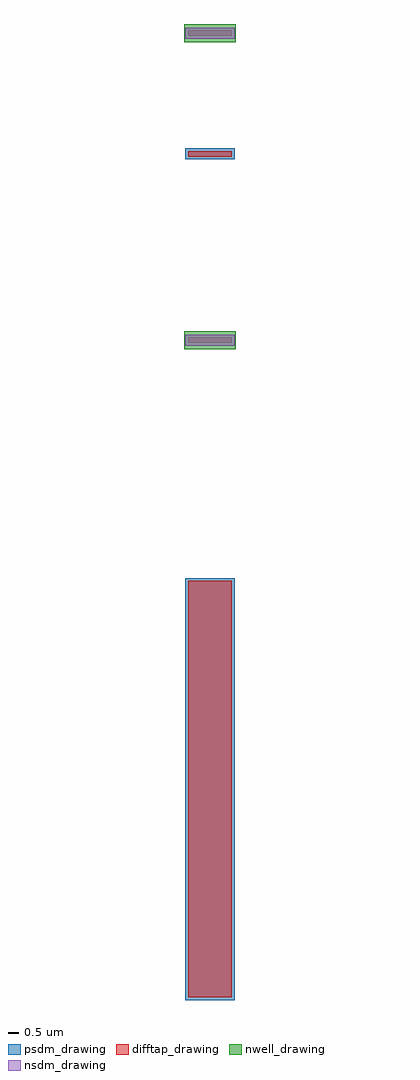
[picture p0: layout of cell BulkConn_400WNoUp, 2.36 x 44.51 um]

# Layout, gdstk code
import gdstk
lib = gdstk.Library(unit=1e-6, precision=1e-09)
def R(c, l, rs):  # rectangles x0, y0, x1, y1
    for r in rs: c.add(gdstk.rectangle(r[:2], r[2:], *l))
nwell_drawing = (64, 20)
difftap_drawing = (65, 20)
nsdm_drawing = (93, 44)
psdm_drawing = (94, 20)

bulkconn_400wnoup = lib.new_cell('BulkConn_400WNoUp')
R(bulkconn_400wnoup, nwell_drawing, [(-0.18,-0.42,2.18,0.42), (-0.18,13.58,2.18,14.42)])
R(bulkconn_400wnoup, difftap_drawing, [(0,-29.96,2,-10.975), (0,-0.125,2,0.125), (0,8.375,2,8.625), (0,13.875,2,14.125)])
R(bulkconn_400wnoup, nsdm_drawing, [(-0.125,-0.25,2.125,0.25), (-0.125,13.75,2.125,14.25)])
R(bulkconn_400wnoup, psdm_drawing, [(-0.125,-30.085,2.125,-10.85), (-0.125,8.25,2.125,8.75)])

lib.write_gds('BulkConn_400WNoUp.gds')
